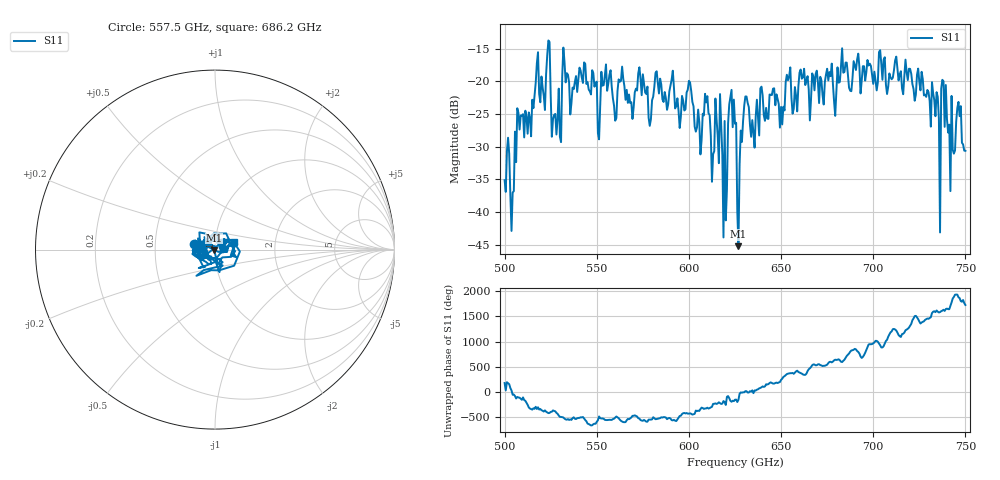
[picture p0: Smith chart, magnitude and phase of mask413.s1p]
!Created with skrf (http://scikit-rf.org).
# GHz S MA R 50.0
!freq magS11 angS11
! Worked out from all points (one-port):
!   401 points, 500 GHz to 750 GHz, reference 50 ohm
!   lowest |S11| = -45.2 dB at 626.9 GHz (marker M1), VSWR 1.01, Z = 49.5 - j0.233 ohm
!   |S11| at or under -10 dB: start of sweep to end of sweep
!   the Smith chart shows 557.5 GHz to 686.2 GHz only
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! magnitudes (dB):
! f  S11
! 500 GHz  -35.1
! 503.8 GHz  -42.9
! 508.1 GHz  -27.4
! 513.1 GHz  -24.7
! 517.5 GHz  -17.2
! 523.8 GHz  -13.7
! 526.9 GHz  -25.1
! 531.2 GHz  -19.3
! 562.5 GHz  -20.1
! 593.8 GHz  -22.6
! 610 GHz  -22.3
! 612.5 GHz  -35.4
! 616.2 GHz  -32.5
! 619.4 GHz  -26.1
! 622.5 GHz  -22.4
! 625 GHz  -26.5
! 626.9 GHz  -45.2
! 631.2 GHz  -22.3
! 634.4 GHz  -25.9
! 656.2 GHz  -24.9
! 687.5 GHz  -21.4
! 718.8 GHz  -19.8
! 733.1 GHz  -22.9
! 735 GHz  -22.4
! 738.1 GHz  -20.0
! 743.1 GHz  -30.5
! 746.2 GHz  -23.1
! 750 GHz  -30.6
